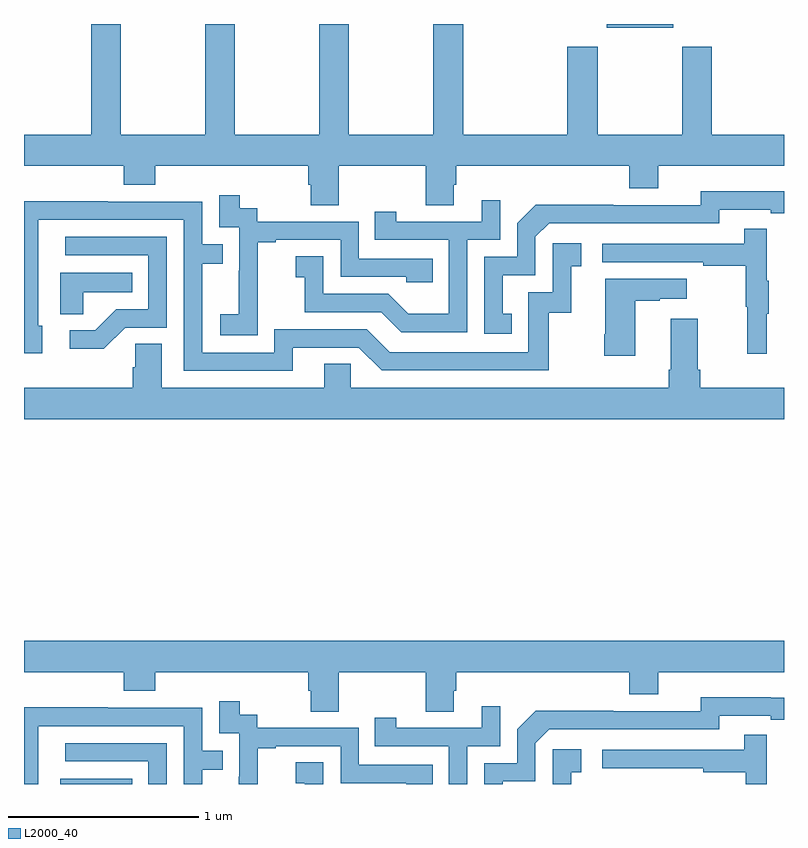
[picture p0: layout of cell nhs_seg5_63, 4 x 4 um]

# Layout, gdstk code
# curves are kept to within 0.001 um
import gdstk
lib = gdstk.Library(unit=1e-6, precision=1e-09)
def R(c, l, rs):  # rectangles x0, y0, x1, y1
    for r in rs: c.add(gdstk.rectangle(r[:2], r[2:], *l))
def P(c, l, *ps):  # polygons
    for p in ps: c.add(gdstk.Polygon(p, *l))
L2000_40 = (2000, 40)

nhs_seg5_63 = lib.new_cell('nhs_seg5_63')
R(nhs_seg5_63, L2000_40, [(113.192,894.799,113.57,894.826), (116.066,898.778,116.416,898.799)])
P(nhs_seg5_63, L2000_40, [(114.657,898.052),(115.114,898.052),(115.114,897.844),(115.261,897.844),(115.261,897.954),(115.274,897.954),(115.274,898.052),(116.186,898.052),(116.186,897.935),(116.338,897.935),(116.338,898.052),(117,898.052),(117,898.216),(116.619,898.216),(116.619,898.678),(116.464,898.678),(116.464,898.216),(116.019,898.216),(116.019,898.678),(115.859,898.678),(115.859,898.216),(115.313,898.216),(115.313,898.799),(115.153,898.799),(115.153,898.216),(114.708,898.216),(114.708,898.799),(114.553,898.799),(114.553,898.216),(114.108,898.216),(114.108,898.799),(113.953,898.799),(113.953,898.216),(113.508,898.216),(113.508,898.799),(113.353,898.799),(113.353,898.216),(113,898.216),(113,898.052),(113.525,898.052),(113.525,897.953),(113.69,897.953),(113.69,898.052),(114.497,898.052),(114.497,897.954),(114.509,897.954),(114.509,897.844),(114.657,897.844)],
  [(115.568,897.273),(115.519,897.273),(115.519,897.477),(115.692,897.477),(115.692,897.678),(115.764,897.75),(116.658,897.75),(116.658,897.822),(116.93,897.822),(116.93,897.802),(117,897.802),(117,897.918),(116.562,897.919),(116.562,897.846),(116.102,897.846),(116.102,897.848),(115.694,897.848),(115.596,897.75),(115.596,897.573),(115.422,897.573),(115.422,897.168),(115.568,897.168)],
  [(114.231,897.367),(114.23,897.367),(114.23,897.651),(114.325,897.651),(114.325,897.663),(114.666,897.663),(114.666,897.468),(115.011,897.468),(115.011,897.441),(115.151,897.441),(115.151,897.564),(114.762,897.564),(114.762,897.759),(114.228,897.759),(114.228,897.828),(114.136,897.828),(114.136,897.898),(114.027,897.898),(114.027,897.729),(114.132,897.729),(114.132,897.5),(114.131,897.5),(114.131,897.271),(114.033,897.271),(114.033,897.161),(114.231,897.161)],
  [(115.332,897.663),(115.506,897.663),(115.506,897.871),(115.409,897.871),(115.409,897.759),(114.958,897.759),(114.958,897.811),(114.847,897.811),(114.847,897.663),(115.236,897.663),(115.236,897.274),(115.022,897.274),(114.918,897.378),(114.576,897.378),(114.576,897.577),(114.429,897.577),(114.429,897.467),(114.478,897.467),(114.478,897.282),(114.881,897.282),(114.986,897.177),(115.332,897.177)],
  [(114.415,897.096),(114.762,897.096),(114.882,896.976),(115.762,896.976),(115.762,897.279),(115.88,897.279),(115.88,897.525),(115.933,897.525),(115.933,897.646),(115.782,897.646),(115.782,897.387),(115.653,897.387),(115.653,897.072),(114.924,897.072),(114.804,897.192),(114.318,897.192),(114.318,897.069),(113.937,897.069),(113.937,897.538),(114.047,897.538),(114.047,897.639),(113.937,897.639),(113.937,897.864),(113.441,897.864),(113.441,897.866),(113,897.866),(113,897.066),(113.095,897.066),(113.095,897.21),(113.076,897.21),(113.076,897.768),(113.841,897.768),(113.841,896.973),(114.415,896.973)],
  [(116.909,897.275),(116.92,897.275),(116.92,897.449),(116.909,897.449),(116.909,897.721),(116.791,897.721),(116.791,897.642),(116.043,897.642),(116.043,897.546),(116.575,897.546),(116.575,897.526),(116.799,897.526),(116.799,897.312),(116.806,897.312),(116.806,897.063),(116.909,897.063)],
  [(113.532,897.201),(113.751,897.201),(113.751,897.678),(113.217,897.678),(113.217,897.582),(113.655,897.582),(113.655,897.297),(113.486,897.297),(113.375,897.186),(113.241,897.186),(113.241,897.089),(113.419,897.089)],
  [(113.313,897.386),(113.57,897.386),(113.57,897.49),(113.192,897.49),(113.192,897.271),(113.313,897.271)],
  [(116.218,897.343),(116.345,897.343),(116.345,897.353),(116.488,897.353),(116.488,897.457),(116.06,897.457),(116.06,897.166),(116.053,897.166),(116.053,897.054),(116.218,897.054)],
  [(117,896.884),(116.558,896.884),(116.558,896.98),(116.545,896.98),(116.545,897.247),(116.405,897.247),(116.405,896.98),(116.393,896.98),(116.393,896.884),(114.72,896.884),(114.72,897.011),(114.581,897.011),(114.581,896.884),(113.725,896.884),(113.725,897.116),(113.586,897.116),(113.586,896.993),(113.573,896.993),(113.573,896.884),(113,896.884),(113,896.72),(117,896.72)],
  [(114.657,895.388),(115.114,895.388),(115.114,895.18),(115.261,895.18),(115.261,895.29),(115.274,895.29),(115.274,895.388),(116.186,895.388),(116.186,895.271),(116.338,895.271),(116.338,895.388),(117,895.388),(117,895.552),(113,895.552),(113,895.388),(113.525,895.388),(113.525,895.289),(113.69,895.289),(113.69,895.388),(114.497,895.388),(114.497,895.29),(114.509,895.29),(114.509,895.18),(114.657,895.18)],
  [(115.519,894.813),(115.692,894.813),(115.692,895.014),(115.764,895.086),(116.658,895.086),(116.658,895.158),(116.93,895.158),(116.93,895.138),(117,895.138),(117,895.254),(116.562,895.255),(116.562,895.182),(116.102,895.182),(116.102,895.184),(115.694,895.184),(115.596,895.086),(115.596,894.909),(115.422,894.909),(115.422,894.799),(115.519,894.799)],
  [(114.23,894.987),(114.325,894.987),(114.325,894.999),(114.666,894.999),(114.666,894.804),(115.011,894.804),(115.011,894.799),(115.151,894.799),(115.151,894.9),(114.762,894.9),(114.762,895.095),(114.228,895.095),(114.228,895.164),(114.136,895.164),(114.136,895.234),(114.027,895.234),(114.027,895.065),(114.132,895.065),(114.132,894.836),(114.131,894.836),(114.131,894.799),(114.23,894.799)],
  [(115.332,894.999),(115.506,894.999),(115.506,895.207),(115.409,895.207),(115.409,895.095),(114.958,895.095),(114.958,895.147),(114.847,895.147),(114.847,894.999),(115.236,894.999),(115.236,894.799),(115.332,894.799)],
  [(113.076,895.104),(113.841,895.104),(113.841,894.799),(113.937,894.799),(113.937,894.874),(114.047,894.874),(114.047,894.975),(113.937,894.975),(113.937,895.2),(113.441,895.2),(113.441,895.202),(113,895.202),(113,894.799),(113.076,894.799)],
  [(116.909,895.057),(116.791,895.057),(116.791,894.978),(116.043,894.978),(116.043,894.882),(116.575,894.882),(116.575,894.862),(116.799,894.862),(116.799,894.799),(116.909,894.799)],
  [(113.751,895.014),(113.217,895.014),(113.217,894.918),(113.655,894.918),(113.655,894.799),(113.751,894.799)],
  [(115.88,894.861),(115.933,894.861),(115.933,894.982),(115.782,894.982),(115.782,894.799),(115.88,894.799)],
  [(114.576,894.913),(114.429,894.913),(114.429,894.803),(114.478,894.803),(114.478,894.799),(114.576,894.799)])

lib.write_gds('nhs_seg5_63.gds')
